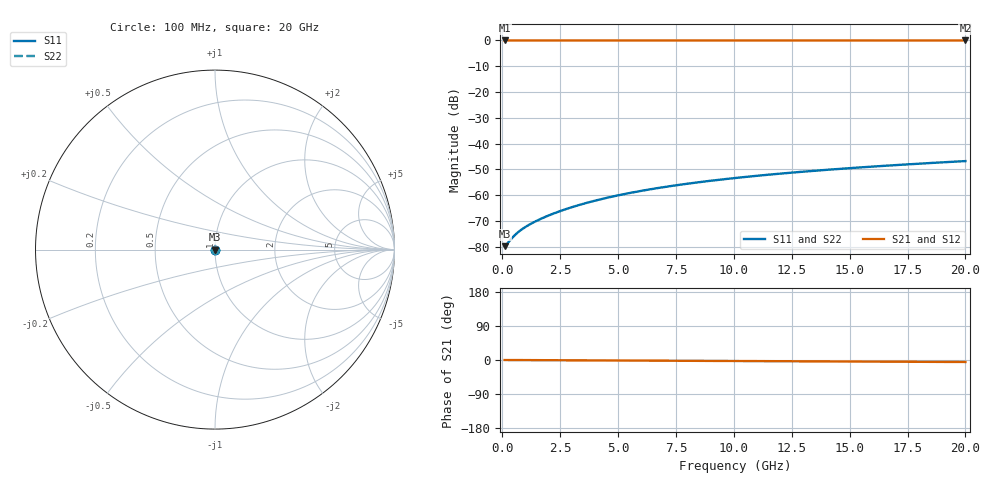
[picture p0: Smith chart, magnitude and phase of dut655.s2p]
! Touchstone file exported from HFSS 2026.1.0
!  File:  C:/ffzhzh/LocalFiles/Ansys_Project_Files/temp_train_TSV_655_1783026759_4048.aedt
!  Generated:  05:14:17 AM Jul  3, 2026
!  Design:  TSV
!  Project:  temp_train_TSV_655_1783026759_4048
! Variables:
!  h_bsmrdl = 2um
!  h_ox = 20um
!  h_rdl = 5um
!  h_sub = 51.01um
!  h_tmrdl = 5um
!  h_tsv = 51.01um
!  h_via = 3um
!  l_bsmrdl = 300um
!  l_sub = 418.94um
!  l_tmrdl = 200um
!  m_sub = 200um
!  pitch = 36.01um
!  r_tsv = 9.47um
!  s_tmrdl = 10um
!  w_bsmrdl = 18um
!  w_sub = 500um
!  w_tmrdl = 12um
!  x_tsv_center1 = 206um
!  x_tsv_center2 = 524um
!  x_tsv_center3 = 736um
!  x_tsv_center4 = 1054um
!  x_tsv_center5 = 1266um
!  x_tsv_center6 = 1584um
# GHz S MA R 50.000000
! Terminal data exported
! Port[1] = TSV1_1_T1
! Port[2] = TSV1_1_T2
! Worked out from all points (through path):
!   200 points, 100 MHz to 20 GHz, reference 50 ohm
!   highest |S21| = 0.00 dB at 100 MHz (marker M1); lowest = 0.0 dB at 20 GHz (marker M2)
!   lowest |S11| = -79.8 dB at 100 MHz (marker M3), VSWR 1.00, Z = 50 + j0.000989 ohm
!   |S11| at or under -10 dB: start of sweep to end of sweep
!   |S22| runs from -79.8 to -46.8 dB; largest |S21 - S12| = 3.2e-15
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0.1  0.0001024 5.5  0.9999 -0.0  0.9999 -0.0  0.0001024 5.5
! Gamma 0 0 0 0
! Port Impedance 50 0 50 0
0.2  0.0001128 8.9  0.9999 -0.1  0.9999 -0.1  0.0001128 8.9
0.5  0.0001606 4.9  0.9998 -0.1  0.9998 -0.1  0.0001606 4.9
0.7  0.000194 -2.7  0.9998 -0.2  0.9998 -0.2  0.000194 -2.7
0.8  0.0002102 -6.7  0.9998 -0.2  0.9998 -0.2  0.0002102 -6.7
1  0.0002418 -14.2  0.9998 -0.3  0.9998 -0.3  0.0002418 -14.2
1.3  0.0002889 -23.9  0.9997 -0.4  0.9997 -0.4  0.0002889 -23.9
1.8  0.0003696 -35.8  0.9997 -0.5  0.9997 -0.5  0.0003696 -35.8
2.3  0.0004551 -43.8  0.9997 -0.6  0.9997 -0.6  0.0004551 -43.8
2.9  0.0005643 -50.5  0.9996 -0.8  0.9996 -0.8  0.0005643 -50.5
3.5  0.0006799 -55.1  0.9996 -0.9  0.9996 -0.9  0.0006799 -55.1
4.2  0.0008217 -59.2  0.9996 -1.1  0.9996 -1.1  0.0008217 -59.2
5  0.0009909 -62.6  0.9995 -1.3  0.9995 -1.3  0.000991 -62.6
5.9  0.001188 -65.6  0.9995 -1.6  0.9995 -1.6  0.001188 -65.6
6.8  0.001391 -68.0  0.9994 -1.8  0.9994 -1.8  0.001391 -68.0
8.3  0.001737 -71.3  0.9994 -2.2  0.9994 -2.2  0.001737 -71.3
10.1  0.002161 -74.2  0.9993 -2.7  0.9993 -2.7  0.002161 -74.2
11.7  0.002542 -76.3  0.9993 -3.1  0.9993 -3.1  0.002542 -76.3
13.4  0.00295 -78.2  0.9992 -3.6  0.9992 -3.6  0.00295 -78.2
15  0.003338 -79.6  0.9992 -4.0  0.9992 -4.0  0.003338 -79.6
16.7  0.003755 -81.0  0.9991 -4.4  0.9991 -4.4  0.003755 -81.0
20  0.004578 -83.1  0.999 -5.3  0.999 -5.3  0.004578 -83.1
